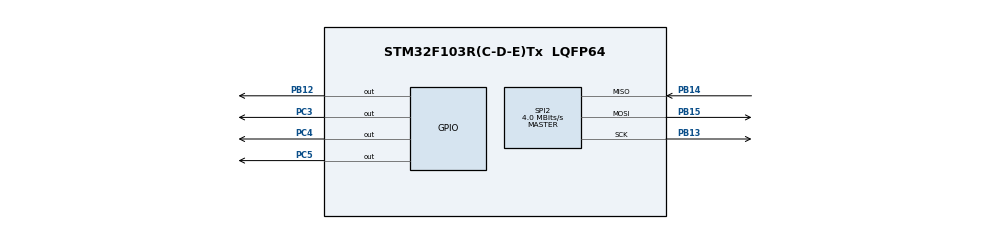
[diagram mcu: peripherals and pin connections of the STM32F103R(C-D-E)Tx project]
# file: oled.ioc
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Dma.Request0=SPI2_RX
Dma.Request1=SPI2_TX
Dma.SPI2_RX.0.Direction=DMA_PERIPH_TO_MEMORY
Dma.SPI2_RX.0.Instance=DMA1_Channel4
Dma.SPI2_RX.0.MemDataAlignment=DMA_MDATAALIGN_BYTE
Dma.SPI2_RX.0.MemInc=DMA_MINC_ENABLE
Dma.SPI2_RX.0.Mode=DMA_NORMAL
Dma.SPI2_RX.0.PeriphDataAlignment=DMA_PDATAALIGN_BYTE
Dma.SPI2_RX.0.PeriphInc=DMA_PINC_DISABLE
Dma.SPI2_RX.0.Priority=DMA_PRIORITY_LOW
Dma.SPI2_TX.1.Direction=DMA_MEMORY_TO_PERIPH
Dma.SPI2_TX.1.Instance=DMA1_Channel5
Dma.SPI2_TX.1.MemDataAlignment=DMA_MDATAALIGN_BYTE
Dma.SPI2_TX.1.MemInc=DMA_MINC_ENABLE
Dma.SPI2_TX.1.Mode=DMA_CIRCULAR
Dma.SPI2_TX.1.PeriphDataAlignment=DMA_PDATAALIGN_BYTE
Dma.SPI2_TX.1.PeriphInc=DMA_PINC_DISABLE
Dma.SPI2_TX.1.Priority=DMA_PRIORITY_LOW
Mcu.Family=STM32F1
Mcu.Name=STM32F103R(C-D-E)Tx
Mcu.Package=LQFP64
NVIC.DMA1_Channel4_IRQn=true\:0\:0\:false\:false\:true\:false\:true\:true
NVIC.DMA1_Channel5_IRQn=true\:0\:0\:false\:false\:true\:false\:true\:true
NVIC.PriorityGroup=NVIC_PRIORITYGROUP_4
PA13.Mode=Serial_Wire
PA13.Signal=SYS_JTMS-SWDIO
PA14.Mode=Serial_Wire
PA14.Signal=SYS_JTCK-SWCLK
PB12.Signal=GPIO_Output
PB13.Mode=Full_Duplex_Master
PB13.Signal=SPI2_SCK
PB14.Mode=Full_Duplex_Master
PB14.Signal=SPI2_MISO
PB15.Mode=Full_Duplex_Master
PB15.Signal=SPI2_MOSI
PC3.Signal=GPIO_Output
PC4.Signal=GPIO_Output
PC5.Signal=GPIO_Output
ProjectManager.HeapSize=0x200
ProjectManager.StackSize=0x400
ProjectManager.TargetToolchain=STM32CubeIDE
RCC.APB1Freq_Value=8000000
RCC.APB2Freq_Value=8000000
SPI2.CalculateBaudRate=4.0 MBits/s
SPI2.Direction=SPI_DIRECTION_2LINES
SPI2.Mode=SPI_MODE_MASTER
SPI2.VirtualType=VM_MASTER
board=custom

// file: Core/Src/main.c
/* USER CODE BEGIN Header */
/**
  ******************************************************************************
  * @file           : main.c
  * @brief          : Main program body
  ******************************************************************************
  * @attention
  *
  * Copyright (c) 2022 STMicroelectronics.
  * All rights reserved.
  *
  * This software is licensed under terms that can be found in the LICENSE file
  * in the root directory of this software component.
  * If no LICENSE file comes with this software, it is provided AS-IS.
  *
  ******************************************************************************
  */
/* USER CODE END Header */
#include "main.h"

/* USER CODE BEGIN Includes */
#include "../Libs/ssd1306.h"
/* USER CODE END Includes */

 SPI_HandleTypeDef Spi_ssd1306Write;
DMA_HandleTypeDef hdma_spi2_rx;
DMA_HandleTypeDef hdma_spi2_tx;

/* USER CODE BEGIN PV */
SSD1306_t SSD1306_Disp;
/* USER CODE END PV */

void SystemClock_Config(void);
static void MX_GPIO_Init(void);
static void MX_DMA_Init(void);
static void MX_SPI2_Init(void);

int main(void)
{

  /* MCU Configuration--------------------------------------------------------*/

  /* Reset of all peripherals, Initializes the Flash interface and the Systick. */
  HAL_Init();

  /* Configure the system clock */
  SystemClock_Config();

  /* Initialize all configured peripherals */
  MX_GPIO_Init();
  MX_DMA_Init();
  MX_SPI2_Init();
  /* USER CODE BEGIN 2 */

  HAL_GPIO_WritePin(GPIOB, GPIO_PIN_12, GPIO_PIN_RESET);

  // Initialize OLED display
  if(SSD1306_Init() != SSD1306_OK) {
	  Error_Handler();
  }
  /* USER CODE END 2 */

  /* Infinite loop */
  /* USER CODE BEGIN WHILE */
  while (1)
  {
	static int xPos = 5;
	if(SSD1306_Disp.state == SSD1306_STATE_READY) {
		SSD1306_Fill_ToRight(xPos - 1, SSD1306_PX_CLR_BLACK);
		SSD1306_GotoXY(xPos, 5);
		SSD1306_Puts("Hello", &Font_7x10, SSD1306_PX_CLR_WHITE);
		SSD1306_GotoXY(xPos, 21);
		SSD1306_Puts("World", &Font_7x10, SSD1306_PX_CLR_WHITE);
	}

	if(SSD1306_UpdateScreen() == SSD1306_SPI_ERROR) {
		Error_Handler();
	};

	xPos++;
	if(xPos == 80) {
		xPos = 5;
	}

	HAL_GPIO_TogglePin(GPIOC, GPIO_PIN_4);
	HAL_GPIO_TogglePin(GPIOC, GPIO_PIN_5);
	HAL_Delay(25);
    /* USER CODE END WHILE */

  }
}

void SystemClock_Config(void)
{
  RCC_OscInitTypeDef RCC_OscInitStruct = {0};
  RCC_ClkInitTypeDef RCC_ClkInitStruct = {0};

  /** Initializes the RCC Oscillators according to the specified parameters
  * in the RCC_OscInitTypeDef structure.
  */
  RCC_OscInitStruct.OscillatorType = RCC_OSCILLATORTYPE_HSI;
  RCC_OscInitStruct.HSIState = RCC_HSI_ON;
  RCC_OscInitStruct.HSICalibrationValue = RCC_HSICALIBRATION_DEFAULT;
  RCC_OscInitStruct.PLL.PLLState = RCC_PLL_NONE;
  if (HAL_RCC_OscConfig(&RCC_OscInitStruct) != HAL_OK)
  {
    Error_Handler();
  }

  /** Initializes the CPU, AHB and APB buses clocks
  */
  RCC_ClkInitStruct.ClockType = RCC_CLOCKTYPE_HCLK|RCC_CLOCKTYPE_SYSCLK
                              |RCC_CLOCKTYPE_PCLK1|RCC_CLOCKTYPE_PCLK2;
  RCC_ClkInitStruct.SYSCLKSource = RCC_SYSCLKSOURCE_HSI;
  RCC_ClkInitStruct.AHBCLKDivider = RCC_SYSCLK_DIV1;
  RCC_ClkInitStruct.APB1CLKDivider = RCC_HCLK_DIV1;
  RCC_ClkInitStruct.APB2CLKDivider = RCC_HCLK_DIV1;

  if (HAL_RCC_ClockConfig(&RCC_ClkInitStruct, FLASH_LATENCY_0) != HAL_OK)
  {
    Error_Handler();
  }
}

static void MX_SPI2_Init(void)
{

  /* SPI2 parameter configuration*/
	Spi_ssd1306Write.Instance = SPI2;
	Spi_ssd1306Write.Init.Mode = SPI_MODE_MASTER;
	Spi_ssd1306Write.Init.Direction = SPI_DIRECTION_2LINES;
	Spi_ssd1306Write.Init.DataSize = SPI_DATASIZE_8BIT;
	Spi_ssd1306Write.Init.CLKPolarity = SPI_POLARITY_LOW;
	Spi_ssd1306Write.Init.CLKPhase = SPI_PHASE_1EDGE;
	Spi_ssd1306Write.Init.NSS = SPI_NSS_SOFT;
	Spi_ssd1306Write.Init.BaudRatePrescaler = SPI_BAUDRATEPRESCALER_2;
	Spi_ssd1306Write.Init.FirstBit = SPI_FIRSTBIT_MSB;
	Spi_ssd1306Write.Init.TIMode = SPI_TIMODE_DISABLE;
	Spi_ssd1306Write.Init.CRCCalculation = SPI_CRCCALCULATION_DISABLE;
	Spi_ssd1306Write.Init.CRCPolynomial = 10;

	Spi_ssd1306Write.hdmatx = &hdma_spi2_tx;

  if (HAL_SPI_Init(&Spi_ssd1306Write) != HAL_OK)
  {
    Error_Handler();
  }

}

static void MX_DMA_Init(void)
{

  /* DMA controller clock enable */
  __HAL_RCC_DMA1_CLK_ENABLE();

  /* DMA interrupt init */
  /* DMA1_Channel4_IRQn interrupt configuration */
  HAL_NVIC_SetPriority(DMA1_Channel4_IRQn, 0, 0);
  HAL_NVIC_EnableIRQ(DMA1_Channel4_IRQn);
  /* DMA1_Channel5_IRQn interrupt configuration */
  HAL_NVIC_SetPriority(DMA1_Channel5_IRQn, 0, 0);
  HAL_NVIC_EnableIRQ(DMA1_Channel5_IRQn);

}

static void MX_GPIO_Init(void)
{
  GPIO_InitTypeDef GPIO_InitStruct = {0};

  /* GPIO Ports Clock Enable */
  __HAL_RCC_GPIOC_CLK_ENABLE();
  __HAL_RCC_GPIOB_CLK_ENABLE();
  __HAL_RCC_GPIOA_CLK_ENABLE();

  /*Configure GPIO pin Output Level */
  HAL_GPIO_WritePin(GPIOC, GPIO_PIN_3|GPIO_PIN_4|GPIO_PIN_5, GPIO_PIN_RESET);

  /*Configure GPIO pin Output Level */
  HAL_GPIO_WritePin(GPIOB, GPIO_PIN_12, GPIO_PIN_RESET);

  /*Configure GPIO pins : PC3 PC4 PC5 */
  GPIO_InitStruct.Pin = GPIO_PIN_3|GPIO_PIN_4|GPIO_PIN_5;
  GPIO_InitStruct.Mode = GPIO_MODE_OUTPUT_PP;
  GPIO_InitStruct.Pull = GPIO_NOPULL;
  GPIO_InitStruct.Speed = GPIO_SPEED_FREQ_LOW;
  HAL_GPIO_Init(GPIOC, &GPIO_InitStruct);

  /*Configure GPIO pin : PB12 */
  GPIO_InitStruct.Pin = GPIO_PIN_12;
  GPIO_InitStruct.Mode = GPIO_MODE_OUTPUT_PP;
  GPIO_InitStruct.Pull = GPIO_NOPULL;
  GPIO_InitStruct.Speed = GPIO_SPEED_FREQ_LOW;
  HAL_GPIO_Init(GPIOB, &GPIO_InitStruct);

}

/* USER CODE BEGIN 4 */

// SPI transmission callback - called when UpdateScreen() completes to update OLED display from buffer
void HAL_SPI_TxCpltCallback(SPI_HandleTypeDef* pSpi2_oledWrite) {
	// Set the SSD1306 state to ready
	SSD1306_Disp.state = SSD1306_STATE_READY;
}

void DMA1_Stream4_IRQHandler(void) {
	HAL_DMA_IRQHandler(&hdma_spi2_tx);
}
void SPI2_IRQHandler(void) {
	HAL_SPI_IRQHandler(&Spi_ssd1306Write);
}

/* USER CODE END 4 */

void Error_Handler(void)
{
  /* USER CODE BEGIN Error_Handler_Debug */
  /* User can add his own implementation to report the HAL error return state */
  __disable_irq();
  HAL_GPIO_WritePin(GPIOC, GPIO_PIN_4, GPIO_PIN_SET);
  HAL_GPIO_WritePin(GPIOC, GPIO_PIN_5, GPIO_PIN_SET);
  while (1)
  {
  }
  /* USER CODE END Error_Handler_Debug */
}
